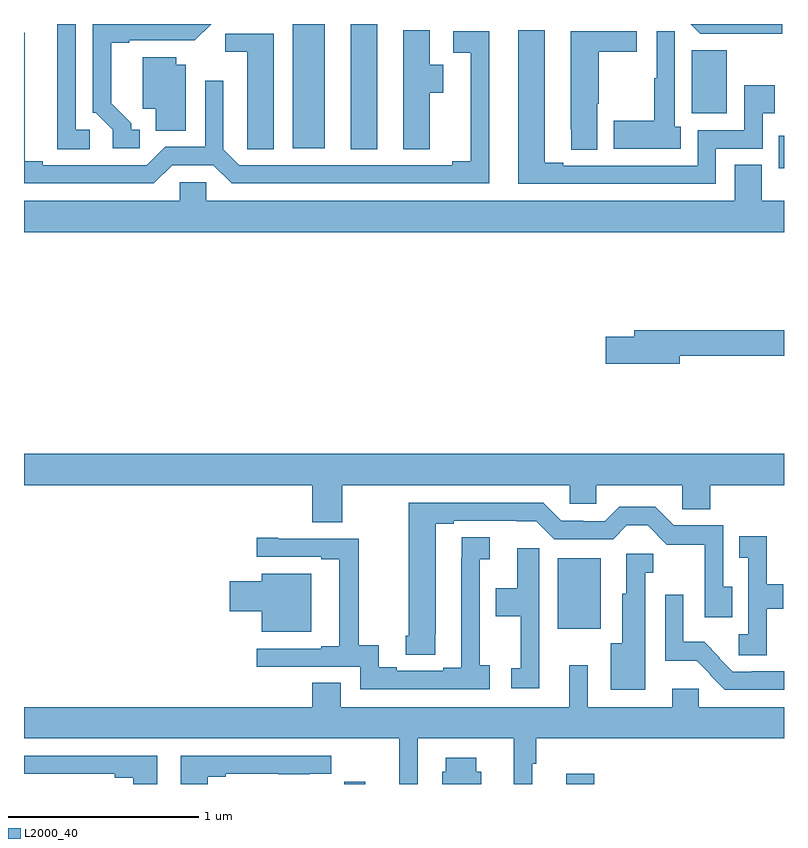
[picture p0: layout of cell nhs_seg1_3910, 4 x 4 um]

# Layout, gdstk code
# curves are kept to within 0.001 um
import gdstk
lib = gdstk.Library(unit=1e-6, precision=1e-09)
def R(c, l, rs):  # rectangles x0, y0, x1, y1
    for r in rs: c.add(gdstk.rectangle(r[:2], r[2:], *l))
def P(c, l, *ps):  # polygons
    for p in ps: c.add(gdstk.Polygon(p, *l))
L2000_40 = (2000, 40)

nhs_seg1_3910 = lib.new_cell('nhs_seg1_3910')
R(nhs_seg1_3910, L2000_40, [(326.686,510.199,326.795,510.211), (327.854,510.199,328.001,510.253), (327.809,511.016,328.036,511.387), (328.972,513.44,329,513.611), (326.72,513.541,326.86,514.199), (326.414,513.545,326.584,514.199), (328.514,513.728,328.699,514.06)])
P(nhs_seg1_3910, L2000_40, [(325.609,513.642),(325.564,513.642),(325.564,513.677),(325.459,513.782),(325.459,514.101),(325.555,514.101),(325.555,514.113),(325.899,514.113),(325.985,514.199),(325.362,514.199),(325.362,513.732),(325.377,513.732),(325.467,513.642),(325.467,513.546),(325.609,513.546)],
  [(325.345,513.642),(325.272,513.642),(325.272,514.199),(325.175,514.199),(325.175,513.541),(325.345,513.541)],
  [(328.99,514.199),(328.51,514.199),(328.56,514.149),(328.877,514.149),(328.877,514.147),(328.99,514.147)],
  [(327.136,513.838),(327.207,513.838),(327.207,513.984),(327.136,513.984),(327.136,514.166),(326.997,514.166),(326.997,514.055),(326.996,514.055),(326.996,513.541),(327.136,513.541)],
  [(328.641,513.543),(328.887,513.543),(328.887,513.728),(328.951,513.728),(328.951,513.877),(328.791,513.877),(328.791,513.639),(328.545,513.639),(328.545,513.453),(327.838,513.453),(327.838,513.468),(327.742,513.468),(327.742,514.166),(327.602,514.166),(327.602,513.357),(328.641,513.357)],
  [(328.456,513.659),(328.425,513.659),(328.425,514.049),(328.424,514.049),(328.424,514.162),(328.329,514.162),(328.329,513.914),(328.317,513.914),(328.317,513.69),(328.103,513.69),(328.103,513.542),(328.456,513.542)],
  [(328.018,513.778),(328.026,513.778),(328.026,514.053),(328.225,514.053),(328.225,514.161),(327.878,514.161),(327.878,513.646),(327.879,513.646),(327.879,513.538),(328.018,513.538)],
  [(325.779,513.456),(325.997,513.456),(326.093,513.36),(327.448,513.36),(327.448,514.161),(327.258,514.161),(327.258,514.047),(327.35,514.047),(327.35,513.476),(327.254,513.476),(327.254,513.456),(326.133,513.456),(326.049,513.54),(326.049,513.901),(325.953,513.901),(325.953,513.552),(325.743,513.552),(325.647,513.456),(325.099,513.456),(325.099,513.476),(325.003,513.476),(325.003,514.153),(325,514.153),(325,513.36),(325.683,513.36)],
  [(326.314,514.149),(326.058,514.149),(326.058,514.052),(326.174,514.052),(326.174,513.649),(326.175,513.649),(326.175,513.541),(326.314,513.541)],
  [(325.852,513.985),(325.801,513.985),(325.801,514.024),(325.625,514.024),(325.625,513.752),(325.694,513.752),(325.694,513.637),(325.852,513.637)],
  [(329,513.268),(328.882,513.268),(328.882,513.458),(328.742,513.458),(328.742,513.268),(325.959,513.268),(325.959,513.366),(325.821,513.366),(325.821,513.268),(325,513.268),(325,513.104),(329,513.104)],
  [(328.45,512.452),(329,512.452),(329,512.588),(328.211,512.588),(328.211,512.552),(328.062,512.552),(328.062,512.41),(328.45,512.41)],
  [(326.676,511.772),(327.873,511.772),(327.873,511.674),(328.011,511.674),(328.011,511.772),(328.464,511.772),(328.464,511.645),(328.611,511.645),(328.611,511.772),(329,511.772),(329,511.936),(325,511.936),(325,511.772),(326.516,511.772),(326.516,511.576),(326.676,511.576)],
  [(327.165,510.988),(327.166,511.569),(327.262,511.569),(327.262,511.584),(327.697,511.583),(327.792,511.488),(328.101,511.488),(328.172,511.56),(328.282,511.56),(328.382,511.459),(328.584,511.459),(328.584,511.077),(328.727,511.077),(328.727,511.238),(328.68,511.238),(328.68,511.56),(328.419,511.56),(328.322,511.657),(328.132,511.657),(328.056,511.581),(327.944,511.581),(327.944,511.584),(327.828,511.584),(327.732,511.68),(327.026,511.68),(327.026,510.978),(327.008,510.978),(327.008,510.88),(327.165,510.88)],
  [(328.908,511.122),(328.997,511.122),(328.997,511.25),(328.909,511.25),(328.909,511.504),(328.765,511.504),(328.765,511.391),(328.812,511.391),(328.812,510.988),(328.763,510.988),(328.763,510.877),(328.908,510.877)],
  [(327.451,510.823),(327.399,510.823),(327.399,511.381),(327.451,511.381),(327.451,511.499),(327.303,511.499),(327.303,511.391),(327.302,511.391),(327.302,510.81),(327.206,510.81),(327.206,510.795),(326.962,510.795),(326.962,510.814),(326.866,510.814),(326.866,510.928),(326.762,510.928),(326.762,511.491),(326.338,511.491),(326.338,511.496),(326.226,511.496),(326.226,511.395),(326.564,511.395),(326.564,511.383),(326.66,511.383),(326.66,510.925),(326.564,510.925),(326.564,510.912),(326.226,510.912),(326.226,510.816),(326.769,510.816),(326.769,510.699),(327.451,510.699)],
  [(327.712,511.441),(327.596,511.441),(327.596,511.23),(327.484,511.23),(327.484,511.082),(327.614,511.082),(327.614,510.807),(327.564,510.807),(327.564,510.702),(327.712,510.702)],
  [(328.27,511.311),(328.311,511.311),(328.311,511.41),(328.169,511.41),(328.169,511.2),(328.148,511.2),(328.148,510.94),(328.088,510.94),(328.088,510.695),(328.27,510.695)],
  [(326.512,511.306),(326.252,511.306),(326.252,511.267),(326.082,511.267),(326.082,511.109),(326.252,511.109),(326.252,511.001),(326.512,511.001)],
  [(329,510.792),(328.831,510.792),(328.831,510.789),(328.731,510.789),(328.659,510.861),(328.662,510.864),(328.579,510.947),(328.47,510.947),(328.47,511.195),(328.374,511.195),(328.374,510.849),(328.54,510.849),(328.613,510.776),(328.61,510.773),(328.688,510.696),(329,510.696)],
  [(327.072,510.44),(327.578,510.44),(327.578,510.199),(327.676,510.199),(327.676,510.306),(327.695,510.306),(327.695,510.44),(329,510.44),(329,510.604),(328.551,510.604),(328.551,510.7),(328.412,510.7),(328.412,510.604),(327.966,510.604),(327.966,510.823),(327.869,510.823),(327.869,510.604),(326.668,510.604),(326.668,510.731),(326.516,510.731),(326.516,510.604),(325,510.604),(325,510.44),(326.975,510.44),(326.975,510.199),(327.072,510.199)],
  [(325.702,510.348),(325,510.348),(325,510.252),(325.478,510.252),(325.478,510.232),(325.574,510.232),(325.574,510.199),(325.702,510.199)],
  [(325.966,510.237),(326.062,510.237),(326.062,510.252),(326.338,510.252),(326.338,510.251),(326.504,510.251),(326.504,510.252),(326.617,510.252),(326.617,510.348),(325.826,510.348),(325.826,510.199),(325.966,510.199)],
  [(327.406,510.264),(327.379,510.264),(327.379,510.337),(327.221,510.337),(327.221,510.264),(327.2,510.264),(327.2,510.199),(327.406,510.199)])

lib.write_gds('nhs_seg1_3910.gds')
